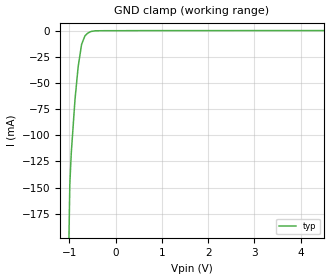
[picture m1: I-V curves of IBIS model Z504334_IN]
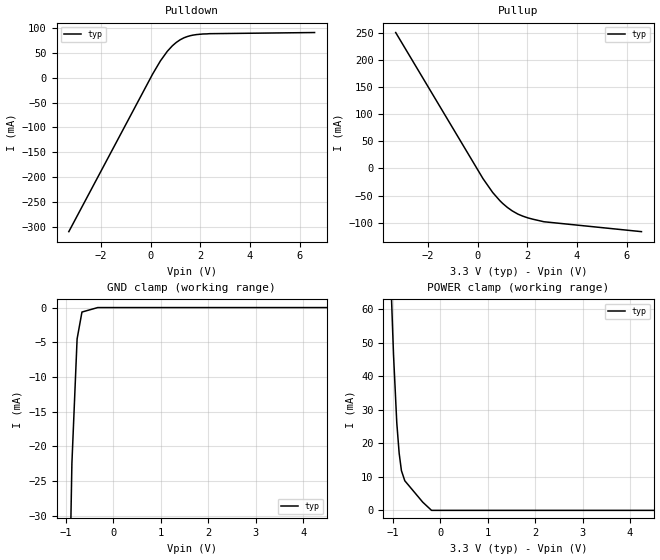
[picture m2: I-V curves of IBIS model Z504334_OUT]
| YOU ARE ONLY AUTHORIZED TO USE THIS SOFTWARE
| ACCORDING TO LICENSOR'S LICENSE RESTRICTIONS.
[IBIS Ver] 3.1
[File Name] mc74lcx138d.ibs
[File Rev] 2.0
[Source] Measured and created by ICX Technology
[Date] Friday 7/14/00 9:08:12 AM
[Copyright]
| (C) COPYRIGHT 1993-2000
| MENTOR GRAPHICS CORPORATION
| ICX STANDARD LIBRARY, ICX PROJECT MODELING,
| ICX CUSTOM MODELING, ICX VENDOR MODEL
| ALL RIGHTS RESERVED.
| THE FOLLOWING ARE TRADEMARKS OR SERVICE MARKS OF
| MENTOR GRAPHICS CORPORATION:ICX (R), ICX STANDARD
| LIBRARY(R), ICX PROJECT MODELING(R), ICX CUSTOM
| MODELING(R), qualityIBIS(TM), MODELVIEWER(TM),
| AND MODELEDITOR(TM)
| ALL COPIES OF SOFTWARE, INCLUDING BUT NOT LIMITED TO
| ANY MODIFICATIONS, ENHANCEMENTS OR DERIVATIVE WORKS,
| MUST CONTAIN ALL MENTOR GRAPHICS CORPORATION'S
| NOTICES AND LEGENDS, INCLUDING THOSE EMBEDDED IN
| SOFTWARE AND THOSE AFFIXED TO SOFTWARE MEDIUM
| AND CONTAINER, AS RECEIVED FROM MENTOR GRAPHICS
| CORPORATION.
|  ZAP Model Builder 2.7
[Component] MC74LCX138D
[Manufacturer] OnSemiconductor
[Package]
| variable   typ   min   max
R_pkg  .156ohms NA NA
L_pkg  3.148nH NA NA
C_pkg  .388pF NA NA
[Pin] signal_name  model_name  R_pin  L_pin C_pin
1 A Z504334_IN .162 3.798n .418p
2 B Z504334_IN .158 3.358n .398p
3 C Z504334_IN .154 2.928n .378p
4 _G3 Z504334_IN .15 2.508n .358p
5 _G2 Z504334_IN .15 2.508n .358p
6 G1 Z504334_IN .154 2.928n .378p
7 _Y7 Z504334_OUT .158 3.358n .398p
8 GROUND GND .162 3.798n .418p
9 _Y6 Z504334_OUT .162 3.798n .418p
10 _Y5 Z504334_OUT .158 3.358n .398p
11 _Y4 Z504334_OUT .154 2.928n .378p
12 _Y3 Z504334_OUT .15 2.508n .358p
13 _Y2 Z504334_OUT .15 2.508n .358p
14 _Y1 Z504334_OUT .154 2.928n .378p
15 _Y0 Z504334_OUT .158 3.358n .398p
16 VCC POWER .162 3.798n .418p
| Models and submodels in the file (2): Z504334_IN (Input), Z504334_OUT (Output)
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| (C) COPYRIGHT 1993-2000
| MENTOR GRAPHICS CORPORATION
| ICX STANDARD LIBRARY, ICX PROJECT MODELING,
| ICX CUSTOM MODELING, ICX VENDOR MODEL
| ALL RIGHTS RESERVED.
| THE FOLLOWING ARE TRADEMARKS OR SERVICE MARKS OF
| MENTOR GRAPHICS CORPORATION:ICX (R), ICX STANDARD
| LIBRARY(R), ICX PROJECT MODELING(R), ICX CUSTOM
| MODELING(R), qualityIBIS(TM), MODELVIEWER(TM),
| AND MODELEDITOR(TM)
| ALL COPIES OF SOFTWARE, INCLUDING BUT NOT LIMITED TO
| ANY MODIFICATIONS, ENHANCEMENTS OR DERIVATIVE WORKS,
| MUST CONTAIN ALL MENTOR GRAPHICS CORPORATION'S
| NOTICES AND LEGENDS, INCLUDING THOSE EMBEDDED IN
| SOFTWARE AND THOSE AFFIXED TO SOFTWARE MEDIUM
| AND CONTAINER, AS RECEIVED FROM MENTOR GRAPHICS
| CORPORATION.
| Model Application Version 1.89 2/18/99.
[Model] Z504334_IN
Model_type Input
Vinl = 800.0mV
Vinh = 2.000V
C_comp 4.000pF NA NA
| variable typ   min   max
[Voltage Range] 3.300V NA NA
[GND Clamp Reference] 0.000V NA NA
[POWER Clamp Reference] 3.300V NA NA
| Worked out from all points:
|   GND clamp passes 1 mA (typ) near -0.55 V on its own axis
[GND Clamp]
-3.3V     -2.085A    NA         NA
-1.03V    -252.6mA   NA         NA
-991mV    -147mA     NA         NA
-959.5mV  -116.9mA   NA         NA
-878.8mV  -65.64mA   NA         NA
-810.5mV  -34.35mA   NA         NA
-737.2mV  -13.18mA   NA         NA
-663.4mV  -4.776mA   NA         NA
-549.4mV  -978.1uA   NA         NA
-429.7mV  -4.884uA   NA         NA
-214.8mV  95.86uA    NA         NA
6.6V      210.5uA    NA         NA
[POWER Clamp]
-3.3V     0A         NA         NA
6.6V      0A         NA         NA
| (C) COPYRIGHT 1993-2000
| MENTOR GRAPHICS CORPORATION
| ICX STANDARD LIBRARY, ICX PROJECT MODELING,
| ICX CUSTOM MODELING, ICX VENDOR MODEL
| ALL RIGHTS RESERVED.
| THE FOLLOWING ARE TRADEMARKS OR SERVICE MARKS OF
| MENTOR GRAPHICS CORPORATION:ICX (R), ICX STANDARD
| LIBRARY(R), ICX PROJECT MODELING(R), ICX CUSTOM
| MODELING(R), qualityIBIS(TM), MODELVIEWER(TM),
| AND MODELEDITOR(TM)
| ALL COPIES OF SOFTWARE, INCLUDING BUT NOT LIMITED TO
| ANY MODIFICATIONS, ENHANCEMENTS OR DERIVATIVE WORKS,
| MUST CONTAIN ALL MENTOR GRAPHICS CORPORATION'S
| NOTICES AND LEGENDS, INCLUDING THOSE EMBEDDED IN
| SOFTWARE AND THOSE AFFIXED TO SOFTWARE MEDIUM
| AND CONTAINER, AS RECEIVED FROM MENTOR GRAPHICS
| CORPORATION.
| Model Application Version 1.89 2/18/99.
[Model] Z504334_OUT
Model_type Output
Vref=0.000V
Rref=500.0ohms
Cref=50.00pF
Vmeas=1.500V
C_comp 8.000pF NA NA
| variable typ   min   max
[Voltage Range] 3.300V NA NA
[POWER Clamp Reference] 3.300V NA NA
[Pullup Reference] 3.300V NA NA
[Pulldown Reference] 0.000V NA NA
[GND Clamp Reference] 0.000V NA NA
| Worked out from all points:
|   slope of the pulldown table from 0 to 0.495 V, typ, clamps not added: 12.1 ohm
|   slope of the pullup table from 0 to 0.495 V, typ, clamps not added: 14.2 ohm
|   GND clamp passes 1 mA (typ) near -0.67 V on its own axis
|   POWER clamp passes 1 mA (typ) near -0.26 V on its own axis
[GND Clamp]
-3.3V     -1.376A    NA         NA
-1.035V   -82.56mA   NA         NA
-876mV    -22.48mA   NA         NA
-766.3mV  -4.518mA   NA         NA
-663.8mV  -643.9uA   NA         NA
-331.9mV  0A         NA         NA
6.6V      0A         NA         NA
[Pulldown]
-3.3V     -309.5mA   NA         NA
78.13mV   7.39mA     NA         NA
390.7mV   33.74mA    NA         NA
668mV     52.99mA    NA         NA
1.027V    70.73mA    NA         NA
1.182V    76.07mA    NA         NA
1.474V    82.62mA    NA         NA
2.105V    87.78mA    NA         NA
6.6V      90.68mA    NA         NA
[Pullup]
-3.3V     251.3mA    NA         NA
216mV     -18.73mA   NA         NA
608mV     -44.45mA   NA         NA
893mV     -59.4mA    NA         NA
1.196V    -71.94mA   NA         NA
1.621V    -84.33mA   NA         NA
1.816V    -88.08mA   NA         NA
2.67V     -98.5mA    NA         NA
6.6V      -116.8mA   NA         NA
[POWER Clamp]
-3.3V     1.207A     NA         NA
-1.212V   135.8mA    NA         NA
-987mV    46.55mA    NA         NA
-918mV    26.14mA    NA         NA
-868mV    17.07mA    NA         NA
-820mV    11.85mA    NA         NA
-749mV    8.836mA    NA         NA
-371mV    2.453mA    NA         NA
-185.5mV  0A         NA         NA
6.6V      0A         NA         NA
[Ramp]
| variable typ min max
dV/dt_r 1.946/168.7p NA NA
dV/dt_f 1.946/186.2p NA NA
R_load = 500.0Ohms
